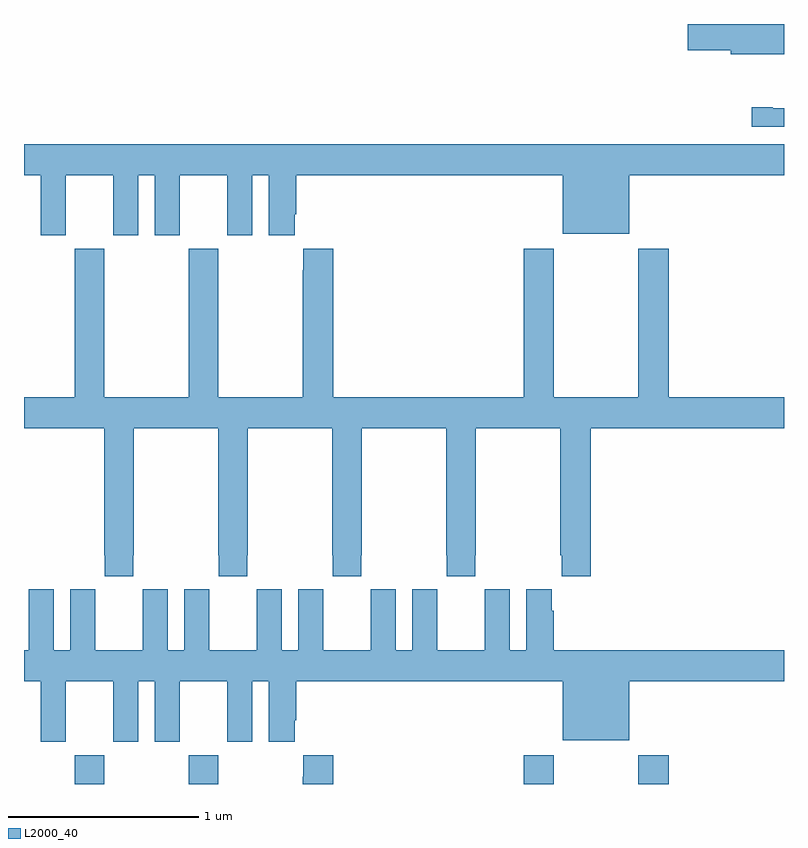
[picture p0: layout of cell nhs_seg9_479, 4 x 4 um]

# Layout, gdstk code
import gdstk
lib = gdstk.Library(unit=1e-6, precision=1e-09)
def R(c, l, rs):  # rectangles x0, y0, x1, y1
    for r in rs: c.add(gdstk.rectangle(r[:2], r[2:], *l))
def P(c, l, *ps):  # polygons
    for p in ps: c.add(gdstk.Polygon(p, *l))
L2000_40 = (2000, 40)

nhs_seg9_479 = lib.new_cell('nhs_seg9_479')
R(nhs_seg9_479, L2000_40, [(133.267,1242.5,133.422,1242.652), (133.867,1242.5,134.022,1242.652), (135.629,1242.5,135.789,1242.652), (136.234,1242.5,136.394,1242.652)])
P(nhs_seg9_479, L2000_40, [(137,1246.5),(136.494,1246.5),(136.494,1246.361),(136.721,1246.361),(136.721,1246.34),(137,1246.34)],
  [(137,1246.056),(136.942,1246.056),(136.942,1246.061),(136.83,1246.061),(136.83,1245.96),(137,1245.96)],
  [(133.219,1245.704),(133.469,1245.704),(133.469,1245.387),(133.6,1245.387),(133.6,1245.704),(133.688,1245.704),(133.688,1245.387),(133.819,1245.387),(133.819,1245.704),(134.069,1245.704),(134.069,1245.387),(134.2,1245.387),(134.2,1245.704),(134.288,1245.704),(134.288,1245.387),(134.425,1245.387),(134.425,1245.499),(134.432,1245.499),(134.432,1245.704),(135.836,1245.704),(135.836,1245.395),(136.186,1245.395),(136.186,1245.704),(137,1245.704),(137,1245.868),(133,1245.868),(133,1245.704),(133.088,1245.704),(133.088,1245.387),(133.219,1245.387)],
  [(136.234,1245.316),(136.234,1244.536),(135.789,1244.536),(135.789,1245.316),(135.629,1245.316),(135.629,1244.536),(134.627,1244.536),(134.627,1245.316),(134.471,1245.316),(134.471,1245.203),(134.467,1245.203),(134.467,1244.536),(134.022,1244.536),(134.022,1245.316),(133.867,1245.316),(133.867,1244.536),(133.422,1244.536),(133.422,1245.316),(133.267,1245.316),(133.267,1244.536),(133,1244.536),(133,1244.372),(133.423,1244.372),(133.423,1243.705),(133.425,1243.705),(133.425,1243.593),(133.575,1243.593),(133.575,1243.705),(133.578,1243.705),(133.578,1244.372),(134.023,1244.372),(134.023,1243.705),(134.025,1243.705),(134.025,1243.593),(134.175,1243.593),(134.175,1243.705),(134.178,1243.705),(134.178,1244.372),(134.623,1244.372),(134.623,1243.705),(134.625,1243.705),(134.625,1243.593),(134.775,1243.593),(134.775,1243.705),(134.778,1243.705),(134.778,1244.372),(135.223,1244.372),(135.223,1243.705),(135.225,1243.705),(135.225,1243.593),(135.375,1243.593),(135.375,1243.705),(135.378,1243.705),(135.378,1244.372),(135.823,1244.372),(135.823,1243.705),(135.829,1243.705),(135.829,1243.593),(135.983,1243.593),(135.983,1244.372),(137,1244.372),(137,1244.536),(136.394,1244.536),(136.394,1245.316)],
  [(134.356,1243.525),(134.226,1243.525),(134.226,1243.412),(134.225,1243.412),(134.225,1243.204),(133.975,1243.204),(133.975,1243.412),(133.974,1243.412),(133.974,1243.525),(133.844,1243.525),(133.844,1243.204),(133.756,1243.204),(133.756,1243.525),(133.626,1243.525),(133.626,1243.412),(133.625,1243.412),(133.625,1243.204),(133.375,1243.204),(133.375,1243.412),(133.374,1243.412),(133.374,1243.525),(133.244,1243.525),(133.244,1243.204),(133.156,1243.204),(133.156,1243.525),(133.026,1243.525),(133.026,1243.412),(133.025,1243.412),(133.025,1243.204),(133,1243.204),(133,1243.04),(133.088,1243.04),(133.088,1242.723),(133.219,1242.723),(133.219,1243.04),(133.469,1243.04),(133.469,1242.723),(133.6,1242.723),(133.6,1243.04),(133.688,1243.04),(133.688,1242.723),(133.819,1242.723),(133.819,1243.04),(134.069,1243.04),(134.069,1242.723),(134.2,1242.723),(134.2,1243.04),(134.288,1243.04),(134.288,1242.723),(134.425,1242.723),(134.425,1242.835),(134.432,1242.835),(134.432,1243.04),(135.836,1243.04),(135.836,1242.731),(136.186,1242.731),(136.186,1243.04),(137,1243.04),(137,1243.204),(135.788,1243.204),(135.788,1243.412),(135.778,1243.412),(135.778,1243.525),(135.644,1243.525),(135.644,1243.204),(135.556,1243.204),(135.556,1243.525),(135.426,1243.525),(135.426,1243.412),(135.425,1243.412),(135.425,1243.204),(135.175,1243.204),(135.175,1243.412),(135.174,1243.412),(135.174,1243.525),(135.044,1243.525),(135.044,1243.204),(134.956,1243.204),(134.956,1243.525),(134.826,1243.525),(134.826,1243.412),(134.825,1243.412),(134.825,1243.204),(134.575,1243.204),(134.575,1243.412),(134.574,1243.412),(134.574,1243.525),(134.444,1243.525),(134.444,1243.204),(134.356,1243.204)],
  [(134.627,1242.652),(134.471,1242.652),(134.471,1242.539),(134.467,1242.539),(134.467,1242.5),(134.627,1242.5)])

lib.write_gds('nhs_seg9_479.gds')
